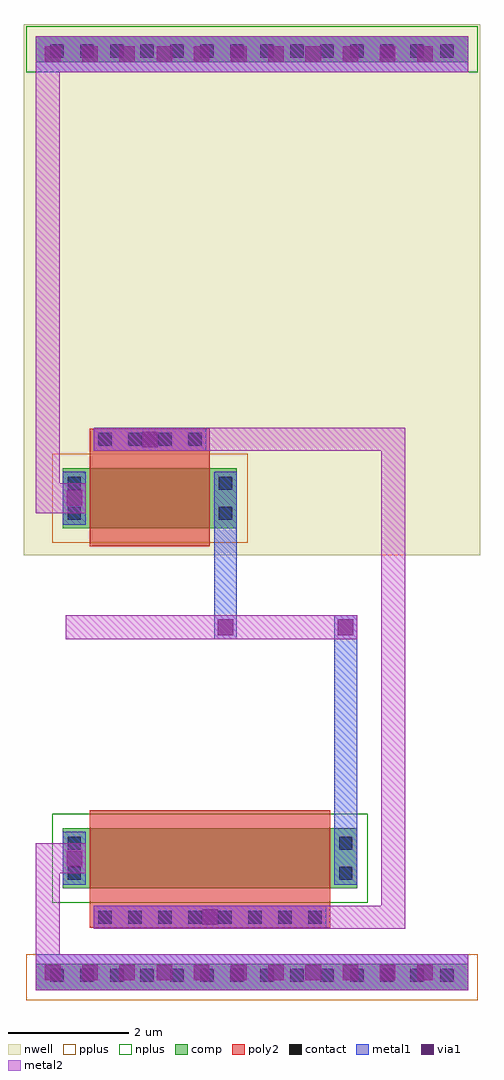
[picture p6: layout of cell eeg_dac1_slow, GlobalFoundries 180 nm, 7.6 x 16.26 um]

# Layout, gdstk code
import gdstk
lib = gdstk.Library(unit=1e-6, precision=1e-09)
def R(c, l, rs):  # rectangles x0, y0, x1, y1
    for r in rs: c.add(gdstk.rectangle(r[:2], r[2:], *l))
def A(c, l, x, y, w, h, nx, ny, dx, dy):  # array of equal rectangles
    R(c, l, [(x+i*dx, y+j*dy, x+i*dx+w, y+j*dy+h) for i in range(nx) for j in range(ny)])
nwell = (21, 0)
comp = (22, 0)
poly2 = (30, 0)
pplus = (31, 0)
nplus = (32, 0)
contact = (33, 0)
metal1 = (34, 0)
via1 = (35, 0)
metal2 = (36, 0)

eeg_dac1_slow = lib.new_cell('eeg_dac1_slow')
R(eeg_dac1_slow, nwell, [(-0.2,7.25,7.4,16.1)])
R(eeg_dac1_slow, comp, [(0,0,7.2,0.44), (0.45,1.7,5.35,2.7), (0.45,7.7,3.35,8.7), (0,15.46,7.2,15.9)])
R(eeg_dac1_slow, poly2, [(0.9,1.04,4.9,3), (0.9,7.4,2.9,9.36)])
R(eeg_dac1_slow, pplus, [(-0.16,-0.16,7.36,0.6), (0.27,7.46,3.53,8.94)])
R(eeg_dac1_slow, nplus, [(0.27,1.46,5.53,2.94), (-0.16,15.3,7.36,16.06)])
A(eeg_dac1_slow, contact, 0.24, 0.14, 0.22, 0.22, 14, 2, 0.5, 15.4)
A(eeg_dac1_slow, contact, 1.04, 1.11, 0.22, 0.22, 8, 1, 0.5, 0)
A(eeg_dac1_slow, contact, 1.04, 9.07, 0.22, 0.22, 4, 1, 0.5, 0)
R(eeg_dac1_slow, contact, [(0.53,1.84,0.75,2.06), (5.05,1.84,5.27,2.06), (0.53,2.34,0.75,2.56), (5.05,2.34,5.27,2.56), (0.53,7.84,0.75,8.06), (3.05,7.84,3.27,8.06), (0.53,8.34,0.75,8.56), (3.05,8.34,3.27,8.56)])
R(eeg_dac1_slow, metal1, [(0,0,7.2,0.6), (0,0,7.2,0.44), (0.96,1.03,4.84,1.41), (0.45,1.76,0.83,2.64), (4.97,1.76,5.35,6.25), (2.97,5.85,3.35,8.64), (0.45,7.76,0.83,8.64), (0.96,8.99,2.84,9.37), (0,15.3,7.2,15.9), (0,15.46,7.2,15.9)])
A(eeg_dac1_slow, via1, 0.15, 0.17, 0.26, 0.26, 11, 2, 0.62, 15.3)
R(eeg_dac1_slow, via1, [(2.77,1.09,3.03,1.35), (0.51,2.07,0.77,2.33), (3.03,5.92,3.29,6.18), (5.03,5.92,5.29,6.18), (0.51,8.07,0.77,8.33), (1.77,9.05,2.03,9.31)])
R(eeg_dac1_slow, metal2, [(0,0,7.2,0.6), (0,0.6,0.4,2.45), (0.96,1.03,6.15,1.41), (5.75,1.03,6.15,9.37), (0,1.95,0.83,2.45), (0.5,5.85,5.35,6.25), (0,7.95,0.83,8.45), (0,7.95,0.4,15.3), (0.96,8.99,6.15,9.37), (0,15.3,7.2,15.9)])

lib.write_gds('eeg_dac1_slow.gds')
